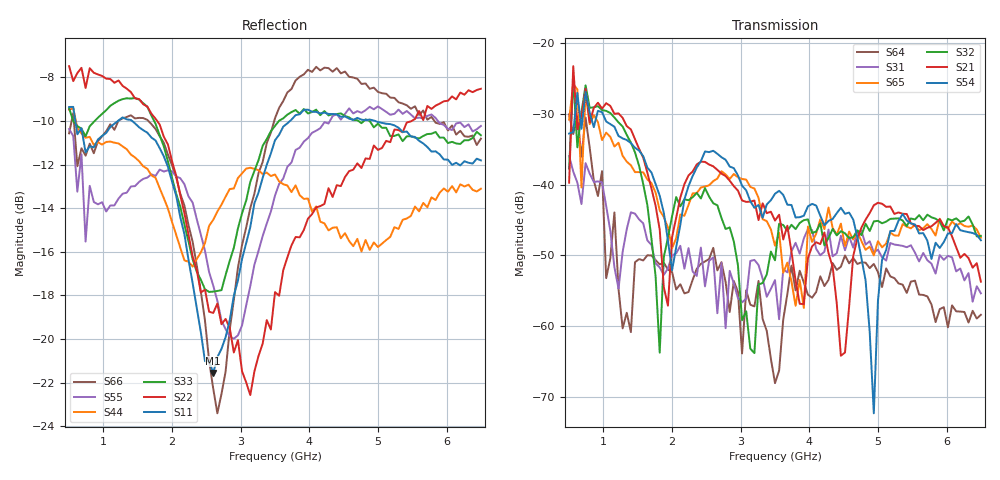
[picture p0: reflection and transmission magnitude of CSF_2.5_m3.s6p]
!Keysight Technologies,M9804A,MY58100912,A.14.10.03
!Date: Thursday, April 27, 2023 10:28:33
!Correction: S11(C  6-Port  )
!S12(C  6-Port  )
!S13(C  6-Port  )
!S14(C  6-Port  )
!S15(C  6-Port  )
!S16(C  6-Port  )
!S21(C  6-Port  )
!S22(C  6-Port  )
!S23(C  6-Port  )
!S24(C  6-Port  )
!S25(C  6-Port  )
!S26(C  6-Port  )
!S31(C  6-Port  )
!S32(C  6-Port  )
!S33(C  6-Port  )
!S34(C  6-Port  )
!S35(C  6-Port  )
!S36(C  6-Port  )
!S41(C  6-Port  )
!S42(C  6-Port  )
!S43(C  6-Port  )
!S44(C  6-Port  )
!S45(C  6-Port  )
!S46(C  6-Port  )
!S51(C  6-Port  )
!S52(C  6-Port  )
!S53(C  6-Port  )
!S54(C  6-Port  )
!S55(C  6-Port  )
!S56(C  6-Port  )
!S61(C  6-Port  )
!S62(C  6-Port  )
!S63(C  6-Port  )
!S64(C  6-Port  )
!S65(C  6-Port  )
!S66(C  6-Port  )
!S6P File: Measurement: :
# Hz S  RI  R 50
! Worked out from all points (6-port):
!   101 points, 500 MHz to 6.5 GHz, reference 50 ohm
!   strongest paths, dB at 500 MHz, 2 GHz, 3.5 GHz, 5 GHz, 6.5 GHz:
!     S54: -32.8, -52.1, -41.3, -56.5, -47.9
!     S21: -39.7, -47.4, -45.1, -42.6, -53.7
!     S32: -37.7, -44.5, -50.7, -45.1, -47.3
!     S65: -30.8, -49.0, -48.7, -48.0, -47.5
!     S31: -35.9, -50.0, -53.5, -49.2, -55.4
!     S64: -30.1, -52.4, -68.1, -52.4, -58.4
!   lowest |S11| = -21.6 dB at 2.6 GHz (marker M1), VSWR 1.18, Z = 42.5 + j2.06 ohm
!   |S11| at or under -10 dB: 591.1 MHz to 1.209 GHz (618.2 MHz wide, 68.7 % of centre); 1.42 GHz to 3.717 GHz (2.297 GHz wide, 89.4 % of centre); 4.962 GHz to end of sweep
